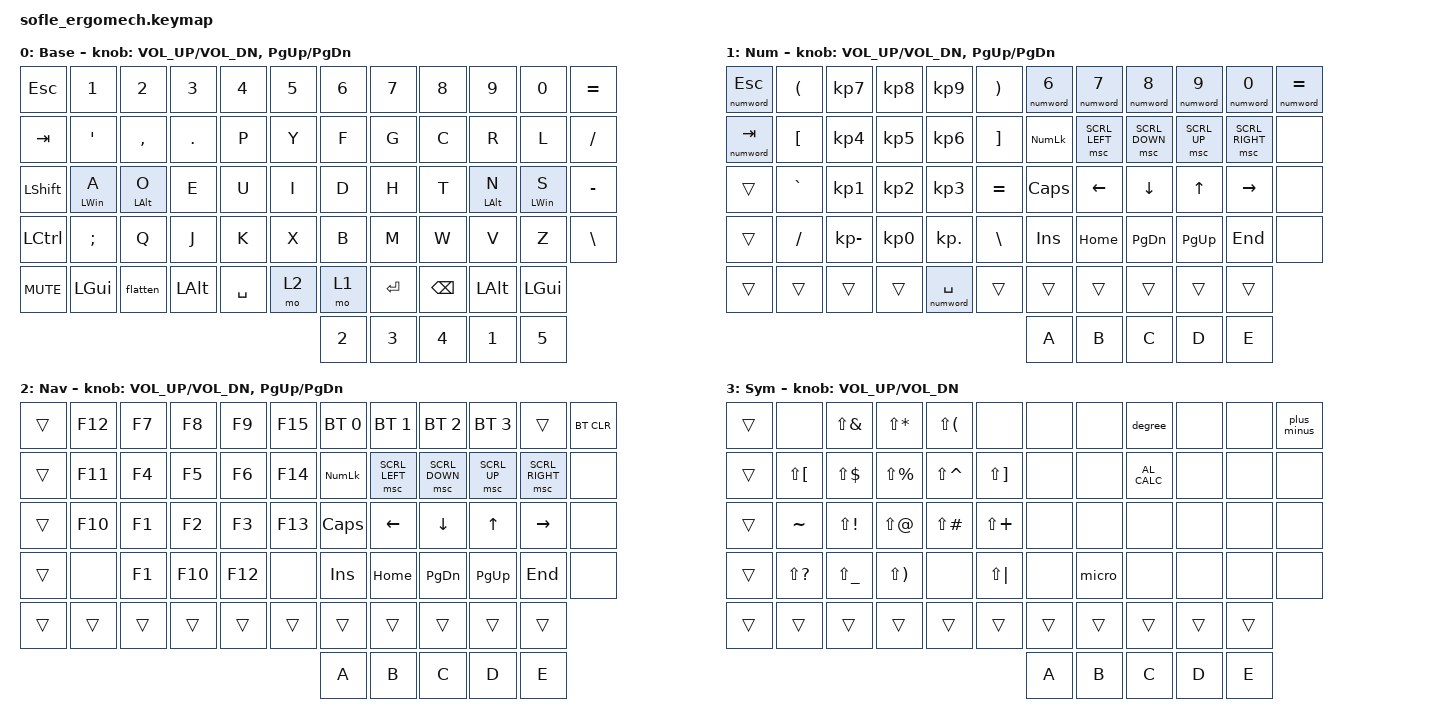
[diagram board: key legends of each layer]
/*
 * Copyright (c) 2020 The ZMK Contributors
 *
 * SPDX-License-Identifier: MIT
 */

#include <behaviors.dtsi>
#include <dt-bindings/zmk/bt.h>
#include <dt-bindings/zmk/keys.h>
#include <dt-bindings/zmk/pointing.h>

#define BASE 0
#define LOWER 1
#define RAISE 2
#define ADJUST 3

/ {
    // Activate ADJUST layer by pressing raise and lower

    conditional_layers { compatible = "zmk,conditional-layers"; };

    combos {
        compatible = "zmk,combos";

        escape {
            bindings = <&kp ESCAPE>;
            key-positions = <14 15>;
        };

        enter {
            bindings = <&kp ENTER>;
            key-positions = <15 16>;
            layers = <0 2 3>;
        };

        nwenter {
            bindings = <&numword ENTER>;
            key-positions = <15 16>;
            layers = <1>;
        };

        backspace {
            bindings = <&kp BACKSPACE>;
            key-positions = <16 17>;
        };

        numcomma {
            bindings = <&commaspace>;
            key-positions = <14 26>;
        };

        ctrl-a {
            bindings = <&kp LC(A)>;
            key-positions = <24 25>;
        };

        alt-o {
            bindings = <&kp LA(O)>;
            key-positions = <25 26>;
        };

        npenter {
            bindings = <&kp ENTER>;
            key-positions = <28 40>;
        };

        symbols {
            bindings = <&sl 3>;
            key-positions = <24 36>;
        };

        pwdshortcut {
            bindings = <&kp LC(SEMICOLON)>;
            key-positions = <36 37>;
        };

        copy {
            bindings = <&kp LC(C)>;
            key-positions = <38 39>;
        };

        cut {
            bindings = <&kp LC(X)>;
            key-positions = <40 38>;
        };

        paste {
            bindings = <&kp LC(V)>;
            key-positions = <40 39>;
        };

        mousescrollup {
            bindings = <&msc SCRL_UP>;
            key-positions = <5 17>;
        };

        mousescrolldown {
            bindings = <&msc SCRL_DOWN>;
            key-positions = <29 41>;
        };

        delete {
            bindings = <&kp DELETE>;
            key-positions = <40 41>;
        };

        bootloaderleft {
            bindings = <&bootloader>;
            key-positions = <12 24 36>;
        };

        bootloaderright {
            bindings = <&bootloader>;
            key-positions = <23 35 47>;
        };
    };

    macros {
        numword: numword {
            compatible = "zmk,behavior-macro-one-param";
            #binding-cells = <1>;
            bindings = <&to 0 &macro_param_1to1 &kp MACRO_PLACEHOLDER>;
            label = "NUMWORD";
        };

        plus_minus: plus_minus {
            compatible = "zmk,behavior-macro";
            #binding-cells = <0>;
            bindings =
                <&macro_press>,
                <&kp LALT>,
                <&macro_tap>,
                <&kp KP_NUMBER_0 &kp KP_NUMBER_1 &kp KP_NUMBER_7 &kp KP_NUMBER_7>,
                <&macro_release>,
                <&kp LALT>;

            label = "PLUS_MINUS";
        };

        degree: degree {
            compatible = "zmk,behavior-macro";
            #binding-cells = <0>;
            bindings =
                <&macro_press>,
                <&kp LALT>,
                <&macro_tap>,
                <&kp KP_NUMBER_0 &kp KP_NUMBER_1 &kp KP_NUMBER_7 &kp KP_NUMBER_6>,
                <&macro_release>,
                <&kp LALT>;

            label = "DEGREE";
        };

        micro: micro {
            compatible = "zmk,behavior-macro";
            #binding-cells = <0>;
            bindings =
                <&macro_press>,
                <&kp LALT>,
                <&macro_tap>,
                <&kp KP_NUMBER_0 &kp KP_NUMBER_1 &kp KP_NUMBER_8 &kp KP_NUMBER_1>,
                <&macro_release>,
                <&kp LALT>;

            label = "MICRO";
        };

        commaspace: commaspace {
            compatible = "zmk,behavior-macro";
            #binding-cells = <0>;
            bindings = <&kp COMMA &kp SPACE>;
            label = "COMMASPACE";
        };
    };

    behaviors {
        flatten: flatten {
            compatible = "zmk,behavior-tap-dance";
            label = "FLATTEN";
            #binding-cells = <0>;
            bindings = <&to 1>, <&to 0>;
        };

        mtl: mtl {
            compatible = "zmk,behavior-hold-tap";
            label = "MTL";
            bindings = <&kp>, <&kp>;

            #binding-cells = <2>;
            tapping-term-ms = <280>;
            quick-tap-ms = <175>;
            require-prior-idle-ms = <150>;
            flavor = "balanced";
            hold-trigger-key-positions = <49 50 51 52 53 54 55 56 57 58 6 7 8 9 10 11 18 19 20 21 22 23 30 31 32 33 34 35 42 43 44 45 46 47>;
            hold-trigger-on-release;
        };

        mtr: mtr {
            compatible = "zmk,behavior-hold-tap";
            label = "Mod-Tap (Right)";
            bindings = <&kp>, <&kp>;

            #binding-cells = <2>;
            tapping-term-ms = <280>;
            quick-tap-ms = <175>;
            require-prior-idle-ms = <150>;
            flavor = "balanced";
            hold-trigger-key-positions = <0 1 2 3 4 5 12 13 14 15 16 17 24 25 26 27 28 29 36 37 38 39 40 41 49 50 51 52 53 54 55 56 57 58>;
            hold-trigger-on-release;
        };
    };

    keymap {
        compatible = "zmk,keymap";

        base_layer {
            label = "Base";

            // ------------------------------------------------------------------------------------------------------------
            // |   `   |  1  |  2  |  3   |  4   |  5   |                   |  6   |  7    |  8    |  9   |   0   |       |
            // |  ESC  |  Q  |  W  |  E   |  R   |  T   |                   |  Y   |  U    |  I    |  O   |   P   | BKSPC |
            // |  TAB  |  A  |  S  |  D   |  F   |  G   |                   |  H   |  J    |  K    |  L   |   ;   |   '   |
            // | SHIFT |  Z  |  X  |  C   |  V   |  B   |  MUTE  |  |       |  N   |  M    |  ,    |  .   |   /   | SHIFT |
            //               | GUI | ALT  | CTRL | LOWER|  ENTER |  | SPACE | RAISE| CTRL  | ALT   | GUI  |

            bindings = <
&kp ESC     &kp N1           &kp N2           &kp N3    &kp N4     &kp N5  &kp N6        &kp N7        &kp N8        &kp N9           &kp N0       &kp EQUAL
&kp TAB     &kp SQT          &kp COMMA        &kp DOT   &kp P      &kp Y   &kp F         &kp G         &kp C         &kp R            &kp L        &kp FSLH
&kp LSHFT   &mtl LEFT_WIN A  &mtl LEFT_ALT O  &kp E     &kp U      &kp I   &kp D         &kp H         &kp T         &mtr LEFT_ALT N  &mtr LWIN S  &kp MINUS
&kp LCTRL   &kp SEMI         &kp Q            &kp J     &kp K      &kp X   &kp B         &kp M         &kp W         &kp V            &kp Z        &kp BSLH
&kp C_MUTE  &kp LGUI         &flatten         &kp LALT  &kp SPACE  &mo 2   &mo 1         &kp ENTER     &kp BSPC      &kp LALT         &kp LGUI
                                                                           &kp NUMBER_2  &kp NUMBER_3  &kp NUMBER_4  &kp NUMBER_1     &kp N5
            >;

            sensor-bindings = <&inc_dec_kp C_VOL_UP C_VOL_DN &inc_dec_kp PG_UP PG_DN>;
        };

        num_layer {
            label = "Num";

            // TODO: Some binds are waiting for shifted keycode support.
            // ------------------------------------------------------------------------------------------------------------
            // |       |  F1 |  F2 |  F3  |  F4  |  F5  |                   |  F6  |  F7   |  F8   |  F9  |  F10  |  F11  |
            // |   `   |  1  |  2  |  3   |  4   |  5   |                   |  6   |  7    |  8    |  9   |   0   |  F12  |
            // |       |  !  |  @  |  #   |  $   |  %   |                   |  ^   |  &    |  *    |  (   |   )   |   |   |
            // |       |  =  |  -  |  +   |  {   |  }   |        |  |       |  [   |  ]    |  ;    |  :   |   \   |       |
            //               |     |      |      |      |        |  |       |      |       |       |      |

            bindings = <
&numword ESCAPE  &kp LEFT_PARENTHESIS  &kp KP_NUMBER_7  &kp KP_NUMBER_8  &kp KP_NUMBER_9  &kp RIGHT_PARENTHESIS  &numword N6     &numword N7     &numword N8     &numword N9   &numword N0      &numword EQUAL
&numword TAB     &kp LEFT_BRACKET      &kp KP_NUMBER_4  &kp KP_NUMBER_5  &kp KP_NUMBER_6  &kp RIGHT_BRACKET      &kp KP_NUMLOCK  &msc SCRL_LEFT  &msc SCRL_DOWN  &msc SCRL_UP  &msc SCRL_RIGHT  &none
&trans           &kp GRAVE             &kp KP_N1        &kp KP_NUMBER_2  &kp KP_NUMBER_3  &kp EQUAL              &kp CAPSLOCK    &kp LEFT        &kp DOWN        &kp UP        &kp RIGHT        &none
&trans           &kp SLASH             &kp KP_MINUS     &kp KP_N0        &kp KP_DOT       &kp BACKSLASH          &kp INS         &kp HOME        &kp PG_DN       &kp PG_UP     &kp END          &none
&trans           &trans                &trans           &trans           &numword SPACE   &trans                 &trans          &trans          &trans          &trans        &trans
                                                                                                                 &kp A           &kp B           &kp C           &kp D         &kp E
            >;

            sensor-bindings = <&inc_dec_kp C_VOL_UP C_VOL_DN &inc_dec_kp PG_UP PG_DN>;
        };

        nav_layer {
            label = "Nav";

            // ------------------------------------------------------------------------------------------------------------
            // | BTCLR | BT1  | BT2  |  BT3  |  BT4  |  BT5 |                |      |      |       |      |       |       |
            // |       | INS  | PSCR | GUI   |       |      |                | PGUP |      |   ^   |      |       |       |
            // |       | ALT  | CTRL | SHIFT |       | CAPS |                | PGDN |   <- |   v   |  ->  |  DEL  | BKSPC |
            // |       | UNDO | CUT  | COPY  | PASTE |      |      |  |      |      |      |       |      |       |       |
            //                |      |       |       |      |      |  |      |      |      |       |      |

            bindings = <
&trans  &kp F12  &kp F7  &kp F8   &kp F9   &kp F15  &bt BT_SEL 0    &bt BT_SEL 1    &bt BT_SEL 2    &bt BT_SEL 3  &trans           &bt BT_CLR
&trans  &kp F11  &kp F4  &kp F5   &kp F6   &kp F14  &kp KP_NUMLOCK  &msc SCRL_LEFT  &msc SCRL_DOWN  &msc SCRL_UP  &msc SCRL_RIGHT  &none
&trans  &kp F10  &kp F1  &kp F2   &kp F3   &kp F13  &kp CAPS        &kp LEFT        &kp DOWN        &kp UP        &kp RIGHT        &none
&trans  &none    &kp F1  &kp F10  &kp F12  &none    &kp INS         &kp HOME        &kp PG_DN       &kp PG_UP     &kp END          &none
&trans  &trans   &trans  &trans   &trans   &trans   &trans          &trans          &trans          &trans        &trans
                                                    &kp A           &kp B           &kp C           &kp D         &kp E
            >;

            sensor-bindings = <&inc_dec_kp C_VOL_UP C_VOL_DN &inc_dec_kp PG_UP PG_DN>;
        };

        symbols_layer {
            // ----------------------------------------------------------------------------------------------------------------------------
            // | BTCLR  |  BT1    |  BT2    |   BT3   |   BT4   |   BT5   |                  |      |      |       |      |       |       |
            // | EXTPWR | RGB_HUD | RGB_HUI | RGB_SAD | RGB_SAI | RGB_EFF |                  |      |      |       |      |       |       |
            // |        | RGB_BRD | RGB_BRI |         |         |         |                  |      |      |       |      |       |       |
            // |        |         |         |         |         |         | RGB_TOG | |      |      |      |       |      |       |       |
            //                    |         |         |         |         |         | |      |      |      |       |      |

            label = "Sym";
            bindings = <
&trans  &none                 &kp LS(AMPS)        &kp LS(STAR)   &kp LS(LPAR)   &none                  &none   &none   &degree        &none   &none   &plus_minus
&trans  &kp LS(LEFT_BRACKET)  &kp LS(DLLR)        &kp LS(PRCNT)  &kp LS(CARET)  &kp LS(RIGHT_BRACKET)  &none   &none   &kp C_AL_CALC  &none   &none   &none
&trans  &kp TILDE             &kp LS(EXCL)        &kp LS(AT)     &kp LS(POUND)  &kp LS(PLUS)           &none   &none   &none          &none   &none   &none
&trans  &kp LS(QMARK)         &kp LS(UNDERSCORE)  &kp LS(RPAR)   &none          &kp LS(PIPE)           &none   &micro  &none          &none   &none   &none
&trans  &trans                &trans              &trans         &trans         &trans                 &trans  &trans  &trans         &trans  &trans
                                                                                                       &kp A   &kp B   &kp C          &kp D   &kp E
            >;

            sensor-bindings = <&inc_dec_kp C_VOLUME_UP C_VOL_DN>;
        };
    };
};
